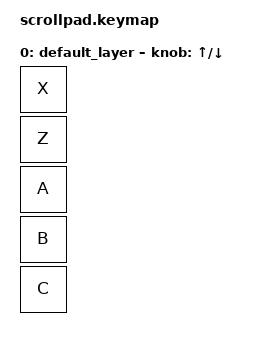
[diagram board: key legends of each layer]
#include <behaviors.dtsi>
#include <dt-bindings/zmk/keys.h>
#include <dt-bindings/zmk/bt.h>
#include <dt-bindings/zmk/outputs.h>

/ {
    keymap {
        compatible = "zmk,keymap";

        default_layer {
            bindings = <
                &kp X
                &kp Z
                &kp A
                &kp B
                &kp C
                
            >;
            sensor-bindings = <&inc_dec_kp UP DOWN>;
        };
    };
};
